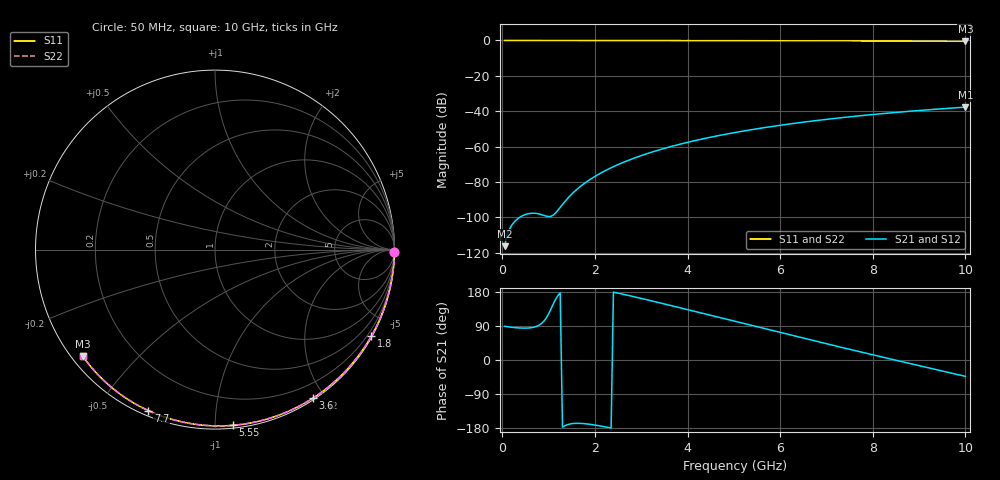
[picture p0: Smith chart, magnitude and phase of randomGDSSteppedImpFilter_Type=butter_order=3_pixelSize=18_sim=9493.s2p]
! freq	dB(S11)	phase(S11)	dB(S12)	phase(S12)
!  dB(S21)	phase(S21)	dB(S22)	phase(S22)
!S-par simulation data
#  GHz  S  DB  R 50
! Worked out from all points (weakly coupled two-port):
!   200 points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, 50 MHz to 10 GHz, reference 50 ohm
!   highest |S21| = -37.68 dB at 10 GHz (marker M1); lowest = -116.2 dB at 50 MHz (marker M2)
!   lowest |S11| = -0.5 dB at 10 GHz (marker M3), VSWR 36.39, Z = 1.55 - j17.7 ohm
!   |S11| at or under -10 dB: nowhere
!   |S22| runs from -0.5 to 0.0 dB; largest |S21 - S12| = 0
!   S11 on the Smith chart (normalised r, x): 50 MHz: open; 1.8 GHz: 0.03, -3.88; 3.6 GHz: 0.02, -1.86; 5.55 GHz: 0.02, -1.11; 7.7 GHz: 0.02, -0.67; 10 GHz: 0.03, -0.35
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0.05  -0.00 -0.8  -116.24 89.0  -116.24 89.0  -0.00 -0.8
0.45  -0.01 -7.3  -98.85 84.1  -98.85 84.1  -0.01 -7.3
0.9  -0.02 -14.6  -98.86 102.7  -98.86 102.7  -0.02 -14.6
1.3  -0.03 -21.0  -92.66 -177.2  -92.66 -177.2  -0.03 -21.0
1.75  -0.04 -28.1  -81.20 -167.7  -81.20 -167.7  -0.04 -28.1
1.8  -0.04 -28.9  -80.24 -168.3  -80.24 -168.3  -0.04 -28.9
2.15  -0.04 -34.4  -74.58 -174.8  -74.58 -174.8  -0.04 -34.4
2.35  -0.05 -37.5  -71.93 -179.6  -71.93 -179.6  -0.05 -37.5
2.55  -0.05 -40.6  -69.57 175.2  -69.57 175.2  -0.05 -40.6
2.95  -0.06 -46.7  -65.52 164.0  -65.52 164.0  -0.06 -46.7
3.4  -0.07 -53.5  -61.73 150.9  -61.73 150.9  -0.07 -53.5
3.6  -0.08 -56.5  -60.25 144.9  -60.25 144.9  -0.08 -56.5
3.9  -0.08 -60.9  -58.20 135.9  -58.20 135.9  -0.08 -60.9
4.3  -0.09 -66.7  -55.77 123.8  -55.77 123.8  -0.09 -66.7
5.05  -0.12 -77.3  -51.89 101.2  -51.89 101.2  -0.12 -77.3
5.55  -0.14 -84.2  -49.70 86.1  -49.70 86.1  -0.14 -84.2
6.1  -0.16 -91.7  -47.56 69.6  -47.56 69.6  -0.16 -91.7
6.7  -0.19 -99.6  -45.51 51.7  -45.51 51.7  -0.19 -99.6
7.7  -0.26 -112.4  -42.61 22.4  -42.61 22.4  -0.26 -112.4
8.35  -0.31 -120.6  -41.00 3.7  -41.00 3.7  -0.31 -120.6
9.2  -0.39 -131.2  -39.16 -20.6  -39.16 -20.6  -0.39 -131.2
10  -0.48 -141.1  -37.68 -43.2  -37.68 -43.2  -0.48 -141.1
